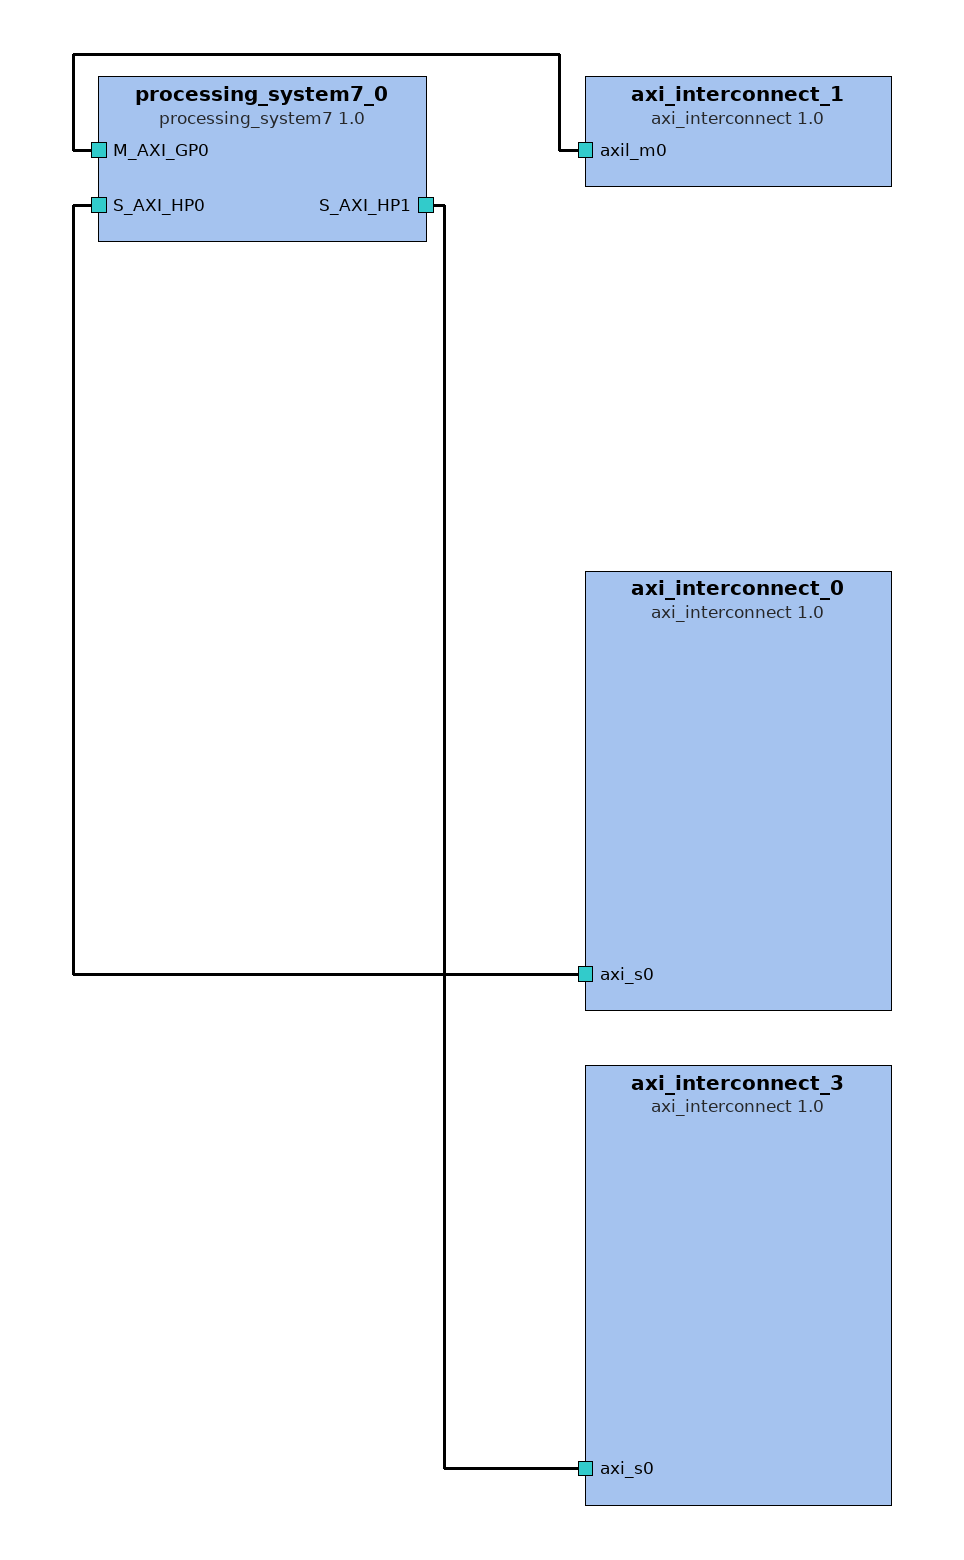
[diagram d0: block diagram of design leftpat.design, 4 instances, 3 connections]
<?xml version="1.0" encoding="UTF-8"?>
<!-- Created by Kactus210:10:12 25.06.2014 -->
<spirit:design xmlns:kactus2="http://funbase.cs.tut.fi/" xmlns:spirit="http://www.spiritconsortium.org/XMLSchema/SPIRIT/1.5" xmlns:xsi="http://www.w3.org/2001/XMLSchema-instance" xsi:schemaLocation="http://www.spiritconsortium.org/XMLSchema/SPIRIT/1.5 http://www.spiritconsortium.org/XMLSchema/SPIRIT/1.5/index.xsd"><spirit:vendor>ARM</spirit:vendor><spirit:library>design</spirit:library><spirit:name>leftpat.design</spirit:name>
 <spirit:version>1.0</spirit:version><spirit:componentInstances>
 <spirit:componentInstance><spirit:instanceName>axi_interconnect_1</spirit:instanceName><spirit:componentRef spirit:vendor="ARM" spirit:library="bus" spirit:name="axi_interconnect" spirit:version="1.0"/></spirit:componentInstance>
 <spirit:componentInstance><spirit:instanceName>axi_interconnect_0</spirit:instanceName><spirit:componentRef spirit:vendor="ARM" spirit:library="bus" spirit:name="axi_interconnect" spirit:version="1.0"/></spirit:componentInstance>
 <spirit:componentInstance><spirit:instanceName>axi_interconnect_3</spirit:instanceName><spirit:componentRef spirit:vendor="ARM" spirit:library="bus" spirit:name="axi_interconnect" spirit:version="1.0"/></spirit:componentInstance>
 <spirit:componentInstance><spirit:instanceName>processing_system7_0</spirit:instanceName><spirit:componentRef spirit:vendor="ARM" spirit:library="ip" spirit:name="processing_system7" spirit:version="1.0"/></spirit:componentInstance>
</spirit:componentInstances><spirit:interconnections>
 <spirit:interconnection><spirit:name>processing_system7_0_M_AXI_GP0_to_axi_interconnect_0_axil_m0</spirit:name><spirit:activeInterface spirit:componentRef="processing_system7_0" spirit:busRef="M_AXI_GP0"/><spirit:activeInterface spirit:componentRef="axi_interconnect_1" spirit:busRef="axil_m0"/></spirit:interconnection>
 <spirit:interconnection><spirit:name>ps7_system_0_S_AXI_HP1_to_axi_2_axi_s0</spirit:name><spirit:activeInterface spirit:componentRef="processing_system7_0" spirit:busRef="S_AXI_HP1"/><spirit:activeInterface spirit:componentRef="axi_interconnect_3" spirit:busRef="axi_s0"/></spirit:interconnection>
 <spirit:interconnection><spirit:name>processing_system7_0_S_AXI_HP0_to_axi_interconnect_0_axi_s0</spirit:name><spirit:activeInterface spirit:componentRef="processing_system7_0" spirit:busRef="S_AXI_HP0"/><spirit:activeInterface spirit:componentRef="axi_interconnect_0" spirit:busRef="axi_s0"/></spirit:interconnection>
</spirit:interconnections></spirit:design>

